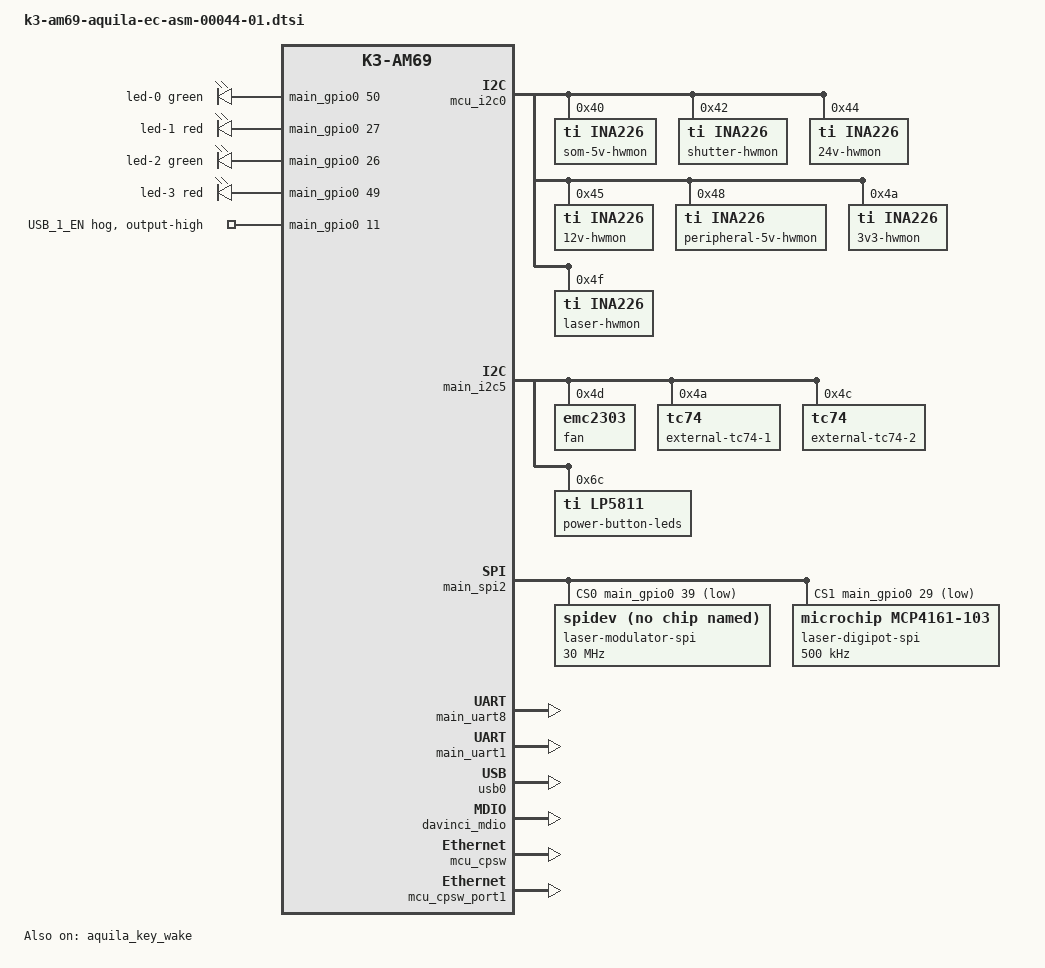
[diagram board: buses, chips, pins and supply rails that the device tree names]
// SPDX-License-Identifier: GPL-2.0-or-later OR MIT
/*
 * Copyright 2024 Toradex
 * Copyright 2025 Refeyn
 *
 * Device tree for EC-ASM-00044-01 CheckMate Main Board
 */

#include <dt-bindings/gpio/gpio.h>
#include <dt-bindings/interrupt-controller/irq.h>
#include <dt-bindings/leds/common.h>

#include "k3-am69-aquila-generic-carrier.dtsi"

&main_pmx0 {
	/* Aquila SPI_1 CS */
	pinctrl_main_spi2_cs0_gpio: main-spi2-cs0-gpio-pins {
		pinctrl-single,pins = <
			J784S4_IOPAD(0x09c, PIN_OUTPUT, 7)  /* (AF35) MCASP0_AXR11.SPI2_CS1 */ /* AQUILA D9 */
		>;
	};

	/* Aquila I2S_1 (LEDs) */
	pinctrl_main_mcasp4_gpio: main-mcasp4-gpio-pins {
		pinctrl-single,pins = <
			J784S4_IOPAD(0x0c8, PIN_OUTPUT, 7)  /* (AJ32) EXT_REFCLK1.MCASP4_ACLKX      */ /* AQUILA B20 */
			J784S4_IOPAD(0x06c, PIN_OUTPUT, 7)  /* (AJ37) MCAN1_TX.MCASP4_AFSX          */ /* AQUILA B21 */
			J784S4_IOPAD(0x068, PIN_OUTPUT, 7)  /* (AE38) MCAN0_RX.MCASP4_AXR1          */ /* AQUILA B22 */
			J784S4_IOPAD(0x0c4, PIN_OUTPUT, 7)  /* (AD36) ECAP0_IN_APWM_OUT.MCASP4_AXR2 */ /* AQUILA B23 */
		>;
	};

	/* Aquila CAN_1 (Debug switches) */
	pinctrl_main_mcan10_gpio: main-mcan10-gpio-pins {
		pinctrl-single,pins = <
			J784S4_IOPAD(0x0b8, PIN_INPUT, 7)  /* (AC34) MCASP1_ACLKX.MCAN10_RX */ /* AQUILA B49 */
			J784S4_IOPAD(0x0b4, PIN_INPUT, 7)  /* (AL34) MCASP1_AXR4.MCAN10_TX  */ /* AQUILA B48 */
		>;
	};

	/* Aquila SD_1 (Diag) */
	pinctrl_main_mmc1_gpio: main-mmc1-gpio-pins {
		pinctrl-single,pins = <
			J784S4_IOPAD(0x104, PIN_INPUT, 7)  /* (AB38) MMC1_CLK  */ /* AQUILA A5  */
			J784S4_IOPAD(0x108, PIN_INPUT, 7)  /* (AB36) MMC1_CMD  */ /* AQUILA A7  */
			J784S4_IOPAD(0x0fc, PIN_INPUT, 7)  /* (AA33) MMC1_DAT0 */ /* AQUILA A3  */
		>;
	};
};

&wkup_pmx2 {
	/* Aquila CAN_2 (Debug switches) */
	pinctrl_mcu_mcan0_gpio: mcu-mcan0-gpio-pins {
		pinctrl-single,pins = <
			J784S4_WKUP_IOPAD(0x054, PIN_INPUT, 7)  /* (F38) MCU_MCAN0_RX  */ /* AQUILA B51 */
			J784S4_WKUP_IOPAD(0x050, PIN_INPUT, 7)  /* (K33) MCU_MCAN0_TX  */ /* AQUILA B50 */
		>;
	};

	/* Aquila CAN_4 (FAN_ALERT) */
	pinctrl_mcu_mcan1_gpio: mcu-mcan1-gpio-pins {
		pinctrl-single,pins = <
			J784S4_WKUP_IOPAD(0x068, PIN_INPUT, 7) /* (H35) WKUP_GPIO0_4.MCU_MCAN1_TX */ /* AQUILA B55 */
		>;
	};

	/* Aquila MSP_3_RX_N (SHUTTER_ACTIVE) */
	pinctrl_mcu_wkup_gpio0_3: mcu-wkup-gpio0-3-default-pins {
		pinctrl-single,pins = <
			J784S4_WKUP_IOPAD(0x064, PIN_INPUT, 7) /* (J36) WKUP_GPIO0_3 */ /* AQUILA C53 */
		>;
	};

	// Delete when updated
	/* Aquila I2C_2 */
	pinctrl_mcu_i2c1: mcu-i2c1-default-pins {
		pinctrl-single,pins = <
			J784S4_WKUP_IOPAD(0x078, PIN_INPUT_PULLUP, 0) /* (L35) WKUP_GPIO0_8.MCU_I2C1_SCL */ /* AQUILA C17 */
			J784S4_WKUP_IOPAD(0x07c, PIN_INPUT_PULLUP, 0) /* (L34) WKUP_GPIO0_9.MCU_I2C1_SDA */ /* AQUILA C16 */
		>;
	};
};

// BEGIN POWER CONTROL AND DIAGNOSTICS

/* Aquila CTRL_PWR_BTN_MICO# */
&aquila_key_power {
	status = "okay";
};

/* Aquila CTRL_WAKE1_MICO# */
&aquila_key_wake {
	status = "okay";
};

/* Aquila I2C_1 */
&mcu_i2c0 {
	status = "okay";

	som-5v-hwmon@40 { // U5
		compatible = "ti,ina226";
		reg = <0x40>;
		shunt-resistor = <5000>;
	};

	shutter-hwmon@42 { // U57
		compatible = "ti,ina226";
		reg = <0x42>;
		shunt-resistor = <100000>;
	};

	24v-hwmon@44 { // U4
		compatible = "ti,ina226";
		reg = <0x44>;
		shunt-resistor = <5000>;
	};

	12v-hwmon@45 { // U2
		compatible = "ti,ina226";
		reg = <0x45>;
		shunt-resistor = <10000>;
	};

	peripheral-5v-hwmon@48 { // U6 (requires mod)
		compatible = "ti,ina226";
		reg = <0x48>;
		shunt-resistor = <5000>;
	};

	3v3-hwmon@4a { // U10
		compatible = "ti,ina226";
		reg = <0x4A>;
		shunt-resistor = <10000>;
	};

	laser-hwmon@4f { // U44
		compatible = "ti,ina226";
		reg = <0x4F>;
		shunt-resistor = <30000>;
	};
};

/* Aquila I2C_6 */
&main_i2c5 {
	status = "okay";

	fan@4d {
		compatible = "emc2303";
		reg = <0x4D>;
		pinctrl-names = "default";
		pinctrl-0 = <&pinctrl_mcu_mcan1_gpio>; // FAN_ALERT
	};

	// External temperature sensor boards
	external-tc74-1@4a {
		compatible = "tc74";
		reg = <0x4a>;
	};

	external-tc74-2@4c {
		compatible = "tc74";
		reg = <0x4c>;
	};

	power-button-leds@6c {
		compatible = "ti,lp5811";
		reg = <0x6c>;
		led-microvolts = <3300000>;
		led-max-microamp = <20000>;

		multi-led {
			color = <LED_COLOR_ID_RGB>;
			function = LED_FUNCTION_INDICATOR;
			#address-cells = <1>;
			#size-cells = <0>;
			default-state = "keep";

			led-red {
				reg = <0>;
				color = <LED_COLOR_ID_RED>;
			};

			led-green {
				reg = <1>;
				color = <LED_COLOR_ID_GREEN>;
			};

			led-blue {
				reg = <2>;
				color = <LED_COLOR_ID_BLUE>;
			};
		};
	};
};

// END

// BEGIN LASER AND SHUTTER CONTROL

/* Aquila SPI_1 */
&main_spi2 {
	status = "okay";
	pinctrl-0 =
		// SPI and CS pins
		<&pinctrl_main_spi2>,
		<&pinctrl_main_spi2_cs0_gpio>, // CS1
		<&pinctrl_gpio_03>, // CS2
		// Shutter pins
		<&pinctrl_gpio_08>, // SHUTTER_EN
		<&pinctrl_mcu_wkup_gpio0_3>, // SHUTTER_ACTIVE
		// Interlock pins
		<&pinctrl_gpio_10_csi_1>, // INTERLOCK_STATUS_0
		<&pinctrl_gpio_12_csi_1>; // INTERLOCK_STATUS_1
	cs-gpios = <&main_gpio0 39 GPIO_ACTIVE_LOW>, <&main_gpio0 29 GPIO_ACTIVE_LOW>;

	laser-modulator-spi@0 {
		/* Use compatible "rohm,dh2228fv" to bind spidev driver */
		reg = <0>;
		compatible = "rohm,dh2228fv";
		spi-max-frequency = <30000000>;
	};

	laser-digipot-spi@1 {
		reg = <1>;
		compatible = "microchip,mcp4161-103";
		spi-max-frequency = <500000>;
	};
};

// END

// BEGIN DEBUG

/* Aquila UART_3, used as the Linux console */
&main_uart8 {
	status = "okay";
};

&reg_sdhc1_vmmc {
	status = "disabled";
};

&{/} {
	leds {
		compatible = "gpio-leds";
		pinctrl-names = "default";
		pinctrl-0 =
			// LEDs
			<&pinctrl_main_mcasp4_gpio>,
			// Debug
			<&pinctrl_main_mcan10_gpio>, // DEBUG_SW_0/1
			<&pinctrl_mcu_mcan0_gpio>, // DEBUG_SW_2/3
			// Diag
			<&pinctrl_main_mmc1_gpio>, // DIAG_0/1/3
			<&pinctrl_sd1_pwr_en>; // DIAG_2

		/* LED0 Green */
		led-0 {
			color = <LED_COLOR_ID_GREEN>;
			default-state = "off";
			function = LED_FUNCTION_STATUS;
			gpios = <&main_gpio0 50 GPIO_ACTIVE_HIGH>;
			linux,default-trigger = "heartbeat";
		};

		/* LED1 Red */
		led-1 {
			color = <LED_COLOR_ID_RED>;
			default-state = "off";
			function = LED_FUNCTION_STATUS;
			gpios = <&main_gpio0 27 GPIO_ACTIVE_HIGH>;
			panic-indicator;
		};

		/* LED2 Green */
		led-2 {
			color = <LED_COLOR_ID_GREEN>;
			default-state = "off";
			function = LED_FUNCTION_DISK_ACTIVITY;
			gpios = <&main_gpio0 26 GPIO_ACTIVE_HIGH>;
			linux,default-trigger = "mmc0";
		};

		/* LED3 Red */
		led-3 {
			color = <LED_COLOR_ID_RED>;
			default-state = "off";
			function = LED_FUNCTION_STATUS;
			gpios = <&main_gpio0 49 GPIO_ACTIVE_HIGH>;
		};
	};
};

// END

// BEGIN RT CPU CONTROL

/* Aquila UART_1 */
&main_uart1 {
	status = "okay";
	pinctrl-0 =
		// UART
		<&pinctrl_main_uart1>,
		// GPIOs
		<&pinctrl_gpio_04>, // RTCPU_RESET
		<&pinctrl_gpio_05>, // RTCPU_MODE_0
		<&pinctrl_gpio_06>; // RTCPU_MODE_1
};

// END

// BEGIN USB
// Note: USB2 is a PCIe USB bridge

&usb0 {
	status = "okay";
};

// END

// BEGIN ETHERNET

/* On-module ETH_1 MDIO */
&davinci_mdio {
	status = "okay";
};

&mcu_cpsw {
	status = "okay";
};

/* On-module ETH_1 RGMII */
&mcu_cpsw_port1 {
	status = "okay";
};

// END

// BEGIN THERMAL

// TODO

// END

&main_gpio0 {
	pinctrl-names = "default";
	pinctrl-0 = <&pinctrl_usb1_en_gpio>;

	/* USB_1_EN Driven by Power Delivery IC - must be driven high */
	usb1en-hog {
		gpio-hog;
		gpios = <11 GPIO_ACTIVE_HIGH>;
		output-high;
		line-name = "USB_1_EN";
	};
};
